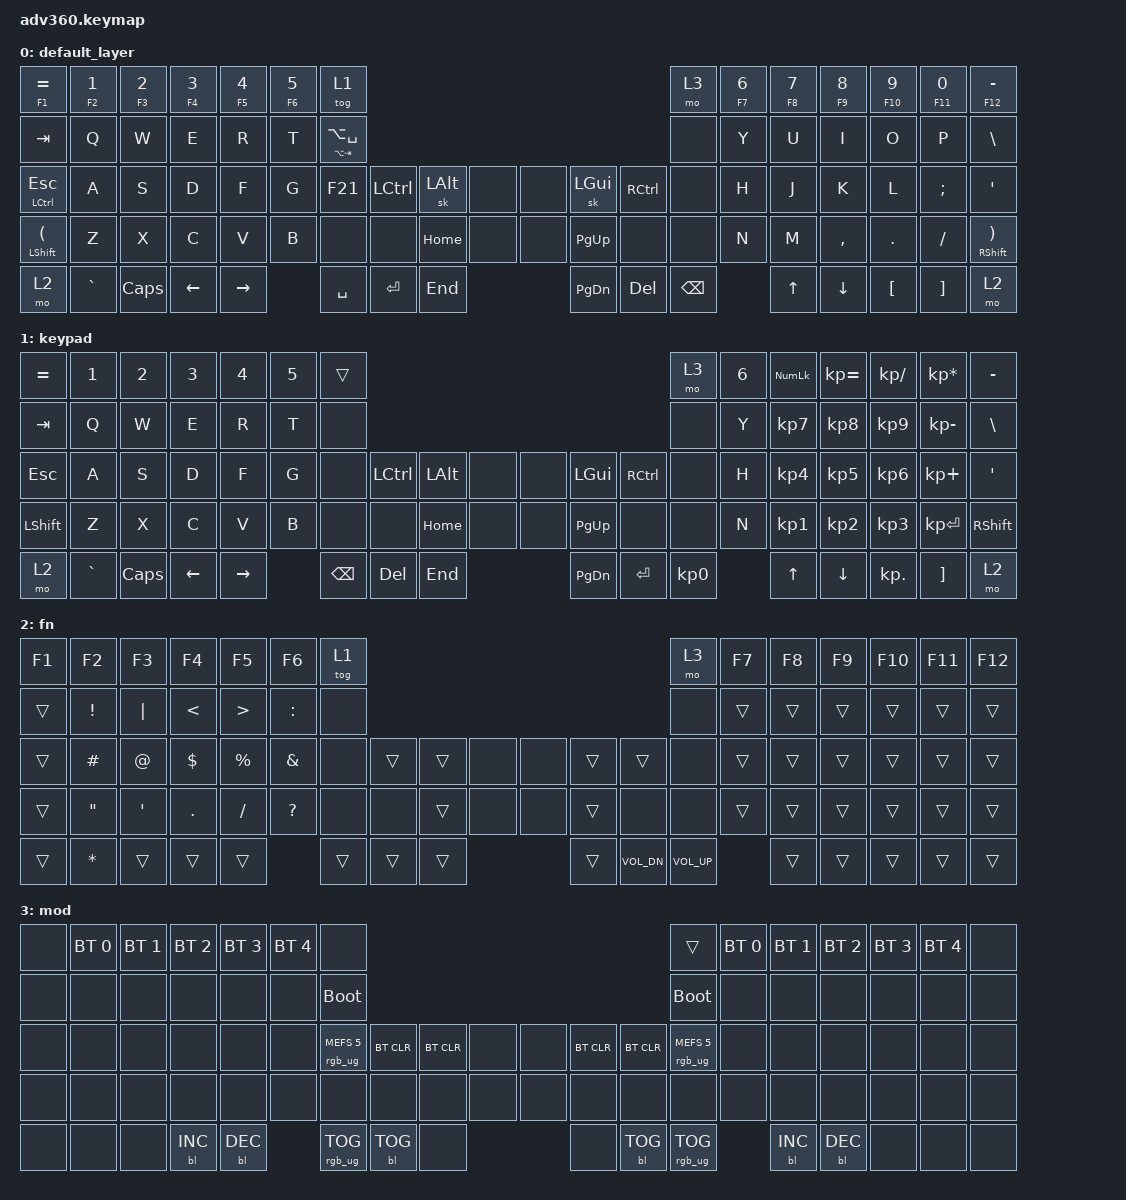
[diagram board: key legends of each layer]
#include <behaviors.dtsi>
#include <dt-bindings/zmk/backlight.h>
#include <dt-bindings/zmk/bt.h>
#include <dt-bindings/zmk/keys.h>
#include <dt-bindings/zmk/rgb.h>

/ {
    behaviors {
        #include "macros.dtsi"

        hm: homerow_mods {
            compatible = "zmk,behavior-hold-tap";
            label = "HOMEROW_MODS";
            #binding-cells = <2>;
            tapping-term-ms = <200>;
            quick_tap_ms = <175>;
            flavor = "tap-preferred";
            bindings = <&kp>, <&kp>;
        };
    };

    keymap {
        compatible = "zmk,keymap";

        default_layer {
            bindings = <
&mt F1 EQUAL                &mt F2 NUMBER_1  &mt F3 NUMBER_2  &mt F4 NUMBER_3  &mt F5 NUMBER_4  &mt F6 NUMBER_5  &tog 1                                                                           &mo 3          &mt F7 NUMBER_6  &mt F8 NUMBER_7  &mt F9 NUMBER_8  &mt F10 NUMBER_9  &mt F11 NUMBER_0  &mt F12 MINUS
&kp TAB                     &kp Q            &kp W            &kp E            &kp R            &kp T            &mt LA(TAB) LA(SPACE)                                                            &none          &kp Y            &kp U            &kp I            &kp O             &kp P             &kp BSLH
&mt LCTRL ESCAPE            &kp A            &kp S            &kp D            &kp F            &kp G            &kp F21                &kp LCTRL  &sk LALT  &none  &none  &sk LGUI   &kp RCTRL   &none          &kp H            &kp J            &kp K            &kp L             &kp SEMI          &kp SQT
&mt LSHFT LEFT_PARENTHESIS  &kp Z            &kp X            &kp C            &kp V            &kp B            &none                  &none      &kp HOME  &none  &none  &kp PG_UP  &none       &none          &kp N            &kp M            &kp COMMA        &kp DOT           &kp FSLH          &mt RSHFT RIGHT_PARENTHESIS
&mo 2                       &kp GRAVE        &kp CAPS         &kp LEFT         &kp RIGHT                         &kp SPACE              &kp ENTER  &kp END                 &kp PG_DN  &kp DELETE  &kp BACKSPACE                   &kp UP           &kp DOWN         &kp LBKT          &kp RBKT          &mo 2
            >;
        };

        keypad {
            bindings = <
&kp EQUAL  &kp N1     &kp N2    &kp N3    &kp N4     &kp N5  &trans                                                             &mo 3      &kp N6  &kp KP_NUM  &kp KP_EQUAL  &kp KP_DIVIDE  &kp KP_MULTIPLY  &kp MINUS
&kp TAB    &kp Q      &kp W     &kp E     &kp R      &kp T   &none                                                              &none      &kp Y   &kp KP_N7   &kp KP_N8     &kp KP_N9      &kp KP_MINUS     &kp BSLH
&kp ESC    &kp A      &kp S     &kp D     &kp F      &kp G   &none     &kp LCTRL  &kp LALT  &none  &none  &kp LGUI   &kp RCTRL  &none      &kp H   &kp KP_N4   &kp KP_N5     &kp KP_N6      &kp KP_PLUS      &kp SQT
&kp LSHFT  &kp Z      &kp X     &kp C     &kp V      &kp B   &none     &none      &kp HOME  &none  &none  &kp PG_UP  &none      &none      &kp N   &kp KP_N1   &kp KP_N2     &kp KP_N3      &kp KP_ENTER     &kp RSHFT
&mo 2      &kp GRAVE  &kp CAPS  &kp LEFT  &kp RIGHT          &kp BSPC  &kp DEL    &kp END                 &kp PG_DN  &kp ENTER  &kp KP_N0          &kp UP      &kp DOWN      &kp KP_DOT     &kp RBKT         &mo 2
            >;
        };

        fn {
            bindings = <
&kp F1  &kp F2             &kp F3       &kp F4         &kp F5            &kp F6         &tog 1                                                      &mo 3         &kp F7  &kp F8  &kp F9  &kp F10  &kp F11  &kp F12
&trans  &kp EXCLAMATION    &kp PIPE     &kp LESS_THAN  &kp GREATER_THAN  &kp COLON      &none                                                       &none         &trans  &trans  &trans  &trans   &trans   &trans
&trans  &kp HASH           &kp AT_SIGN  &kp DOLLAR     &kp PERCENT       &kp AMPERSAND  &none   &trans  &trans  &none  &none  &trans  &trans        &none         &trans  &trans  &trans  &trans   &trans   &trans
&trans  &kp DOUBLE_QUOTES  &kp SQT      &kp PERIOD     &kp SLASH         &kp QUESTION   &none   &none   &trans  &none  &none  &trans  &none         &none         &trans  &trans  &trans  &trans   &trans   &trans
&trans  &kp ASTERISK       &trans       &trans         &trans                           &trans  &trans  &trans                &trans  &kp C_VOL_DN  &kp C_VOL_UP          &trans  &trans  &trans   &trans   &trans
            >;
        };

        mod {
            bindings = <
&none  &bt BT_SEL 0  &bt BT_SEL 1  &bt BT_SEL 2  &bt BT_SEL 3  &bt BT_SEL 4  &none                                                                                 &trans                  &bt BT_SEL 0  &bt BT_SEL 1  &bt BT_SEL 2  &bt BT_SEL 3  &bt BT_SEL 4  &none
&none  &none         &none         &none         &none         &none         &bootloader                                                                           &bootloader             &none         &none         &none         &none         &none         &none
&none  &none         &none         &none         &none         &none         &rgb_ug RGB_MEFS_CMD 5  &bt BT_CLR  &bt BT_CLR  &none  &none  &bt BT_CLR  &bt BT_CLR  &rgb_ug RGB_MEFS_CMD 5  &none         &none         &none         &none         &none         &none
&none  &none         &none         &none         &none         &none         &none                   &none       &none       &none  &none  &none       &none       &none                   &none         &none         &none         &none         &none         &none
&none  &none         &none         &bl BL_INC    &bl BL_DEC                  &rgb_ug RGB_TOG         &bl BL_TOG  &none                     &none       &bl BL_TOG  &rgb_ug RGB_TOG                       &bl BL_INC    &bl BL_DEC    &none         &none         &none
            >;
        };
    };
};
